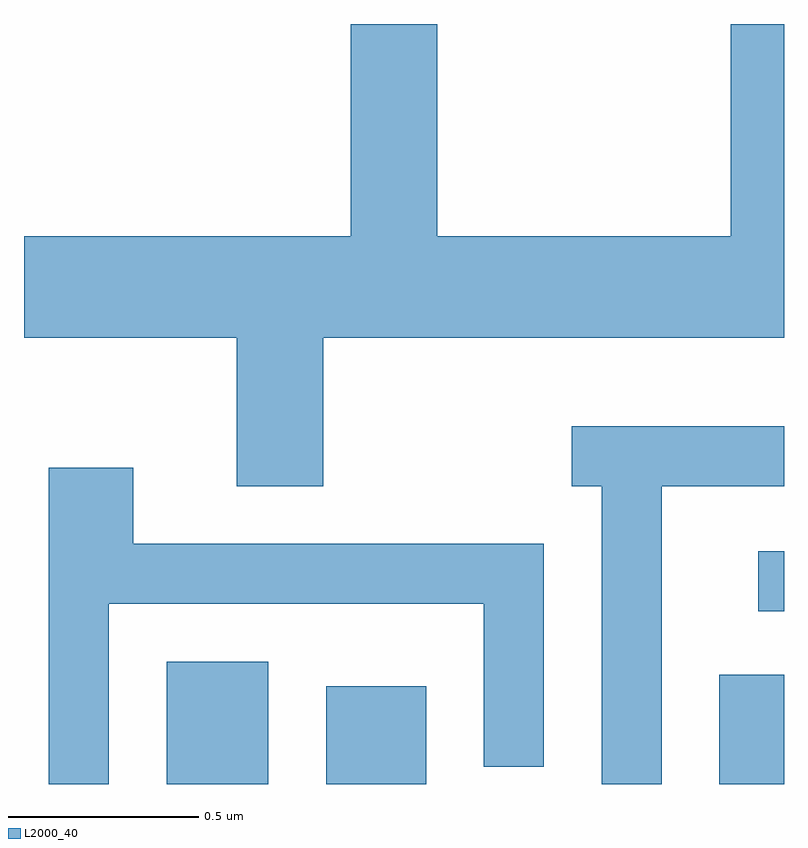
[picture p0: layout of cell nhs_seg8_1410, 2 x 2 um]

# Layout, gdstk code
import gdstk
lib = gdstk.Library(unit=1e-6, precision=1e-09)
def R(c, l, rs):  # rectangles x0, y0, x1, y1
    for r in rs: c.add(gdstk.rectangle(r[:2], r[2:], *l))
def P(c, l, *ps):  # polygons
    for p in ps: c.add(gdstk.Polygon(p, *l))
L2000_40 = (2000, 40)

nhs_seg8_1410 = lib.new_cell('nhs_seg8_1410')
R(nhs_seg8_1410, L2000_40, [(195.986,1846.342,196.254,1846.664), (196.406,1846.342,196.669,1846.599), (197.441,1846.342,197.611,1846.629), (197.543,1846.796,197.611,1846.954)])
P(nhs_seg8_1410, L2000_40, [(196.399,1847.516),(197.611,1847.516),(197.611,1848.342),(197.471,1848.342),(197.471,1847.784),(196.699,1847.784),(196.699,1848.342),(196.471,1848.342),(196.471,1847.784),(195.611,1847.784),(195.611,1847.516),(196.171,1847.516),(196.171,1847.126),(196.399,1847.126)],
  [(197.289,1847.126),(197.611,1847.126),(197.611,1847.284),(197.053,1847.284),(197.053,1847.126),(197.131,1847.126),(197.131,1846.342),(197.289,1846.342)],
  [(195.834,1846.816),(196.821,1846.816),(196.821,1846.388),(196.979,1846.388),(196.979,1846.974),(195.899,1846.974),(195.899,1847.174),(195.676,1847.174),(195.676,1846.342),(195.834,1846.342)])

lib.write_gds('nhs_seg8_1410.gds')
